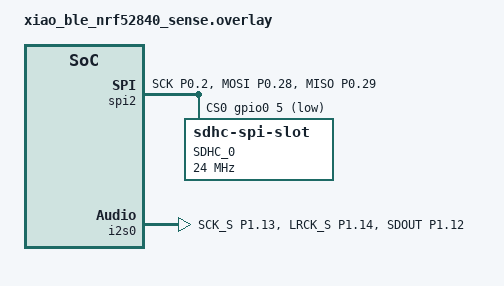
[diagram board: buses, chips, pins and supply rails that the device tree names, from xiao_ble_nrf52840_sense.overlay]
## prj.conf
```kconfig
#
# Copyright (c) 2019 Nordic Semiconductor ASA
#
# SPDX-License-Identifier: LicenseRef-Nordic-5-Clause
#
CONFIG_NCS_SAMPLES_DEFAULTS=y
CONFIG_DK_LIBRARY=y
CONFIG_CLOCK_CONTROL=y

#ESB radio libs
CONFIG_ESB=y
CONFIG_ESB_MAX_PAYLOAD_LENGTH=193

#PWM and I2S libs
CONFIG_I2S=y
CONFIG_PWM=y
CONFIG_GPIO=y

#Serial comunication
CONFIG_USB_DEVICE_STACK=y
CONFIG_USB_CDC_ACM=y
CONFIG_SERIAL=y
CONFIG_UART_CONSOLE=y

#IMU libs
CONFIG_STDOUT_CONSOLE=y
CONFIG_I2C=y
CONFIG_SPI=y
CONFIG_SENSOR=y
CONFIG_LSM6DSL_TRIGGER_OWN_THREAD=y
CONFIG_CBPRINTF_FP_SUPPORT=y

# Enable Edge Impulse dependencies
CONFIG_CPP=y
CONFIG_STD_CPP11=y
CONFIG_FP16=n

# Enable Edge Impulse
CONFIG_EDGE_IMPULSE=y
CONFIG_EDGE_IMPULSE_URI="xiaog2new"
CONFIG_EI_WRAPPER=y

CONFIG_RAM_POWER_DOWN_LIBRARY=y

#randomness
CONFIG_ENTROPY_GENERATOR=y

#sdhc config
CONFIG_FILE_SYSTEM=y
CONFIG_FAT_FILESYSTEM_ELM=y
CONFIG_DISK_ACCESS=y
CONFIG_SPI=y

#loging
CONFIG_LOG=y
```

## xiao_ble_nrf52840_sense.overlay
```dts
// To get started, press Ctrl+Space to bring up the completion menu and view the available nodes.

// You can also use the buttons in the sidebar to perform actions on nodes.
// Actions currently available include:

// * Enabling / disabling the node
// * Adding the bus to a bus
// * Removing the node
// * Connecting ADC channels

// For more help, browse the DeviceTree documentation at https://docs.zephyrproject.org/latest/guides/dts/index.html
// You can also visit the nRF DeviceTree extension documentation at https://docs.nordicsemi.com/bundle/nrf-connect-vscode/page/guides/ncs_configure_app.html#devicetree-support-in-the-extension

&pinctrl {
    custom_spi: custom_spi {
            group1 {
                    psels = <NRF_PSEL(SPIM_SCK, 0, 2)>,
                            <NRF_PSEL(SPIM_MOSI, 0, 28)>,
                            <NRF_PSEL(SPIM_MISO, 0, 29)>;
            };
    };
};

&spi2 {
    status = "okay";
    pinctrl-0 = <&custom_spi>;
    pinctrl-1 = <&custom_spi>;
    pinctrl-names = "default", "sleep";
    cs-gpios = <&gpio0 5 GPIO_ACTIVE_LOW>;

    sdhc0: sdhc@0 {
        compatible = "zephyr,sdhc-spi-slot";
        reg = <0>;
        status = "okay";
        label = "SDHC_0";
        mmc {
                compatible = "zephyr,sdmmc-disk";
                status = "okay";
                disk-name = "SD";  // ← sem přidej tento řádek
        };
        spi-max-frequency = <24000000>;
        //spi-max-frequency = <24000000>; //was working changing to 12 Mhz to be more stable
    };
};

/ {
    aliases {
        i2stx = &i2s0;
    };
};

&i2s0 {
    compatible = "nordic,nrf-i2s";
    #address-cells = <1>;
    #size-cells = <0>;
    reg = <0x40025000 0x1000>;

    pinctrl-0 = <&i2s0_default>;
    pinctrl-names = "default";

    status = "okay";
};

&pinctrl {
    i2s0_default: i2s0_default {
        group1 {
            psels = <NRF_PSEL(I2S_SCK_S, 1, 13)>,    /* D8 */
                    <NRF_PSEL(I2S_LRCK_S, 1, 14)>,   /* D9 */
                    <NRF_PSEL(I2S_SDOUT, 1, 12)>;    /* D7 */
        };
    };
};

&pwm0_default {
    group1 {
        psels = <NRF_PSEL(PWM_OUT0, 0, 4)>, <NRF_PSEL(PWM_OUT1, 0, 3)>;
        /delete-property/ nordic,invert;
    };
};
/delete-node/ &{/pin-controller/pwm0_sleep/group1/};

/*
&usb_cdc_acm_uart {
    compatible = "zephyr,cdc-acm-uart";
    status = "okay";
};
*/
```

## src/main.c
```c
/*
 * Copyright (c) 2018 Nordic Semiconductor ASA
 *
 * SPDX-License-Identifier: LicenseRef-Nordic-5-Clause
 */
#include <zephyr/device.h>
#include <zephyr/devicetree.h>
#include <zephyr/drivers/clock_control.h>
#include <zephyr/drivers/clock_control/nrf_clock_control.h>
#include <zephyr/drivers/gpio.h>
#include <zephyr/irq.h>
#include <zephyr/logging/log.h>
#include <nrf.h>
#include <esb.h>
#include <zephyr/kernel.h>
#include <zephyr/types.h>
#include <dk_buttons_and_leds.h>
#include <zephyr/random/random.h>
#include <zephyr/sys/reboot.h>

/*Modules used for I2S and PWM*/
#include <stdio.h>
#include <zephyr/drivers/i2s.h>
#include <zephyr/sys/iterable_sections.h>
#include <zephyr/sys/printk.h>
#include <zephyr/drivers/pwm.h>
#include "pwmeffects.h"

#define AUDIO_CHUNK_SIZE 1024 //working fine 192
#define AUDIO_SD_CHUNK AUDIO_CHUNK_SIZE //working fine 3072
uint8_t audio_buffer[AUDIO_SD_CHUNK];
/*end of moduls for SD card support*/

#define PRIORITY_PWM 4
#define LMRPWM_THREAD_STACK_SIZE 1024

#define AUDIOSTREAM_MAX_LENGHT (10 * 1000)

/*Modules used for Edge inpuls*/
#include <ei_wrapper.h>
#define HISTORY_LEN 7
#define NUM_CLASSES 9
#define MIN_DETECTION_COUNT 6
#define STRAIGHT_IDX 5
#define DEBUG_RESULT_CB //coment this to use the old function of result_ready

uint8_t hystor_index;
float label_history[HISTORY_LEN][NUM_CLASSES];
float labels_value[NUM_CLASSES];
uint8_t idlefollowup = 0;

//-----------------------------------//
bool audioEventStart = false;
bool audioStreamDone = false;
bool audioStreamPlay = false;	//bool used to control audio stream logic

/*Modules used for LSM6DSL*/
#include <zephyr/sys/util.h>
#define IMU_THREAD_STACK_SIZE 10120
#define IMU_THREAD_PRIORITY 5

K_THREAD_STACK_DEFINE(imu_stack_area, IMU_THREAD_STACK_SIZE);
static struct k_thread imu_thread_data;

static void lsm6dsl_trigger_handler() {
	while(1) {
		int err;
		float sample_buf[3] = {0.0 , 0.0 , 8.9};

		printk("sensor values %f %f %f\n", sample_buf[0], sample_buf[1], sample_buf[2]);
		err = ei_wrapper_add_data(sample_buf, 3); //uset to be controled by audio stream bool trying to chnage taht
		k_sleep(K_MSEC(20));
	}
 }

/*End of modules used for LSM6DSL*/

#define STACK_SIZE 2048
#define PRIORITY 2

#define MSGQ_LENGTH 1

struct gest_msg {
	uint8_t cmd;
	uint8_t gesture_id;
	uint8_t pipeprefix;
    uint8_t rsv;
};

enum GestureID {
	G_IDLE = 0,
    G_CIRCLE1 = 1,
    G_DROP = 2,
    G_NOISE = 3,
    G_SQUARE = 4,
    G_STRAIGHT = 5,
};

/*Packet ID */
#define PKT_GEST 0xB1
#define PKT_PING 0xB2
#define PKT_STAUDIO 0xAB
#define PKT_AUDIO 0xAD
#define PKT_ENDAUDIO 0xAE

K_MSGQ_DEFINE(msg_queue, sizeof(struct gest_msg), MSGQ_LENGTH, 4);

static volatile bool esb_tx_done = true;   // bool used for controling TX logic of gest


#ifdef CONFIG_NOCACHE_MEMORY
	#define MEM_SLAB_CACHE_ATTR __nocache
#else
	#define MEM_SLAB_CACHE_ATTR
#endif /* CONFIG_NOCACHE_MEMORY */

#define BLOCK_SIZE AUDIO_CHUNK_SIZE
#define SLAB_COUNT 4

static char MEM_SLAB_CACHE_ATTR __aligned(WB_UP(32)) 
	 _k_mem_slab_buf_tx_0_mem_slab[(SLAB_COUNT) * WB_UP(BLOCK_SIZE)];

static STRUCT_SECTION_ITERABLE(k_mem_slab, tx_0_mem_slab) =
	 Z_MEM_SLAB_INITIALIZER(tx_0_mem_slab, _k_mem_slab_buf_tx_0_mem_slab,
							 WB_UP(BLOCK_SIZE), SLAB_COUNT);

void check_bitrate_monitoring(size_t new_packet_length_bits);
/*bitrate tracking*/

#define PWM0_NODE DT_NODELABEL(pwm0)

K_THREAD_STACK_DEFINE(lmrPwm_stack_area, LMRPWM_THREAD_STACK_SIZE);
static struct k_thread lmrPwm_thread_data;

LOG_MODULE_REGISTER(esb_prx, CONFIG_ESB_PRX_APP_LOG_LEVEL);

#define PING_TIMEOUT_MS (300 * 1000) // 1 min

const int8_t DEVICE_PREFIX = 0xA2;

int clocks_start(void);

static void imu_trigger(void *arg1, void *arg2, void *arg3);

static void result_ready_cb(int err);

K_THREAD_STACK_DEFINE(audio_stack_area, STACK_SIZE);

int main(void)
{
	int err;
	
	err = clocks_start();
	if (err) {
		return 0;
	}

	err = dk_leds_init();
	if (err) {
		LOG_ERR("LEDs initialization failed, err %d", err);
		return 0;
	}

	LOG_INF("Initialization complete");
	LOG_INF("Setting up for packet receiption");

	k_thread_create(&lmrPwm_thread_data, lmrPwm_stack_area,
	K_THREAD_STACK_SIZEOF(lmrPwm_stack_area),
	lsm6dsl_trigger_handler,
	NULL, NULL, NULL,
	3, 0, K_NO_WAIT);

	k_thread_create(&imu_thread_data, imu_stack_area,
		K_THREAD_STACK_SIZEOF(imu_stack_area),
		imu_trigger,
		NULL, NULL, NULL,
		IMU_THREAD_PRIORITY, 0, K_NO_WAIT);

	/* return to idle thread */
	return 0;
}

int clocks_start(void) {

	int err;
	int res;
	struct onoff_manager *clk_mgr;
	struct onoff_client clk_cli;

	clk_mgr = z_nrf_clock_control_get_onoff(CLOCK_CONTROL_NRF_SUBSYS_HF);
	if (!clk_mgr) {
		LOG_ERR("Unable to get the Clock manager");
		return -ENXIO;
	}

	sys_notify_init_spinwait(&clk_cli.notify);

	err = onoff_request(clk_mgr, &clk_cli);
	if (err < 0) {
		LOG_ERR("Clock request failed: %d", err);
		return err;
	}

	do {
		err = sys_notify_fetch_result(&clk_cli.notify, &res);
		if (!err && res) {
			LOG_ERR("Clock could not be started: %d", res);
			return res;
		}
	} while (err);

	LOG_DBG("HF clock started");
	return 0;
}

static void result_ready_cb(int err) {
    if (err) {
        printk("Result error: %d\n", err);
        return;
    }

    /* 1. Vynuluj aktuální řádek a odečti staré hodnoty */
    for (int c = 0; c < NUM_CLASSES; c++) {
        labels_value[c] -= label_history[hystor_index][c];
        label_history[hystor_index][c] = 0.0f;
    }

    /* 2. Přečti klasifikační výsledky */
    const char *label;
    float prob;
    size_t idx;

    while (!ei_wrapper_get_next_classification_result(&label, &prob, &idx)) {
        if (idx < NUM_CLASSES) {
            label_history[hystor_index][idx] = prob;
            labels_value[idx] += prob;
        }
    }

    /* 4. Posuň index v historii */
    hystor_index = (hystor_index + 1) % HISTORY_LEN;

    /* 5. Najdi třídu s nejvyšší pravděpodobností */
    int max_i = 0;
    float max_v = labels_value[0];
    for (int c = 1; c < NUM_CLASSES; c++) {
        if (labels_value[c] > max_v) {
            max_v = labels_value[c];
            max_i = c;
        }
    }

    /* 6. Spočítej "hlasy" (kolikrát se daná třída opakovala) */
    int votes = 0;
    for (int k = 0; k < HISTORY_LEN; k++) {
        if (label_history[k][max_i] > 0.55f) {
            votes++;
        }
    }

    //printk("Label '%s' (%d) votes: %d\n",
    //     ei_wrapper_get_classifier_label(max_i), max_i, votes);

    if (max_i == 0) {
        ++idlefollowup;
    } else {
        idlefollowup = 0;
    }

    /* 7. Detekce gesta */
    if (votes >= MIN_DETECTION_COUNT &&
        max_i != STRAIGHT_IDX && max_i != 3 &&
        ((max_i != 0) || (idlefollowup == 230))) {

        struct gest_msg g = {
            .cmd        = PKT_GEST,
            .gesture_id = max_i,
            .pipeprefix = DEVICE_PREFIX
        };

        if (!audioEventStart) {
            printk("Gesture detected: %s\n",
                   ei_wrapper_get_classifier_label(max_i));
            k_msgq_put(&msg_queue, &g, K_NO_WAIT);
        }

        memset(label_history, 0, sizeof(label_history));
        memset(labels_value, 0, sizeof(labels_value));
        hystor_index = 0;
        idlefollowup = 0;
    }

    /* 8. Spusť další inference */
    ei_wrapper_start_prediction(0, 3);
}

static void imu_trigger(void *arg1, void *arg2, void *arg3) {

	int err;

	err = ei_wrapper_init(result_ready_cb);
	if (err) {
		LOG_ERR("Edge Impulse wrapper failed to initialize (err: %d)\n",err);
		//return 0;
	}

	err = ei_wrapper_start_prediction(0, 0);
	LOG_ERR("valueof err:%d", err);

	if (err) {
		LOG_ERR("Cannot start prediction (err: %d)\n", err);
	} else {
		LOG_INF("Prediction started...\n");
	}	
	while (1) {
        k_sleep(K_FOREVER);   /* uspi vlákno – jen aby se neukončilo */
    }
}
```

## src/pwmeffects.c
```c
/*Modules used for I2S and PWM*/
#include <stdio.h>
#include <zephyr/kernel.h>
#include <zephyr/drivers/i2s.h>
#include <zephyr/sys/iterable_sections.h>
#include <zephyr/sys/printk.h>
#include <zephyr/drivers/pwm.h>

#include "pwmeffects.h"

#define PWM_PERIOD_USEC 20000  // 20 ms perioda (50 Hz)

void effect_alternate(const struct device *pwm_dev) {
	int64_t start = k_uptime_get();
	while ((k_uptime_get() - start < 3000)) {
		pwm_set(pwm_dev, 0, PWM_PERIOD_USEC, PWM_PERIOD_USEC / 2, 0); // Motor 0 ON
		pwm_set(pwm_dev, 1, PWM_PERIOD_USEC, 0, 0);                    // Motor 1 OFF
		k_sleep(K_MSEC(300));

		pwm_set(pwm_dev, 0, PWM_PERIOD_USEC, 0, 0);                    // Motor 0 OFF
		pwm_set(pwm_dev, 1, PWM_PERIOD_USEC, PWM_PERIOD_USEC / 2, 0); // Motor 1 ON
		k_sleep(K_MSEC(300));
	}
	pwm_set(pwm_dev, 0, PWM_PERIOD_USEC, 0, 0);
	pwm_set(pwm_dev, 1, PWM_PERIOD_USEC, 0, 0);
}

void effect_pulse_both(const struct device *pwm_dev) {
	int64_t start = k_uptime_get();
	while ((k_uptime_get() - start < 3000)) {
		pwm_set(pwm_dev, 0, PWM_PERIOD_USEC, PWM_PERIOD_USEC / 2, 0);
		pwm_set(pwm_dev, 1, PWM_PERIOD_USEC, PWM_PERIOD_USEC / 2, 0);
		k_sleep(K_MSEC(150));

		pwm_set(pwm_dev, 0, PWM_PERIOD_USEC, 0, 0);
		pwm_set(pwm_dev, 1, PWM_PERIOD_USEC, 0, 0);
		k_sleep(K_MSEC(100));
	}
	pwm_set(pwm_dev, 0, PWM_PERIOD_USEC, 0, 0);
	pwm_set(pwm_dev, 1, PWM_PERIOD_USEC, 0, 0);
}

void effect_fade(const struct device *pwm_dev) {
	int64_t start = k_uptime_get();
	uint32_t duty;
	while ((k_uptime_get() - start < 3000)) {
		// Fade in
		for (duty = 0; duty <= PWM_PERIOD_USEC / 2; duty += 200) {
			pwm_set(pwm_dev, 0, PWM_PERIOD_USEC, duty, 0);
			pwm_set(pwm_dev, 1, PWM_PERIOD_USEC, duty, 0);
			k_sleep(K_MSEC(50));
		}
		// Fade out
		for (duty = PWM_PERIOD_USEC / 2; duty >= 200; duty -= 200) {
			pwm_set(pwm_dev, 0, PWM_PERIOD_USEC, duty, 0);
			pwm_set(pwm_dev, 1, PWM_PERIOD_USEC, duty, 0);
			k_sleep(K_MSEC(50));
		}
	}
	pwm_set(pwm_dev, 0, PWM_PERIOD_USEC, 0, 0);
	pwm_set(pwm_dev, 1, PWM_PERIOD_USEC, 0, 0);
}

void effect_fade_left(const struct device *pwm_dev)
{
    int64_t start = k_uptime_get();
    uint32_t duty;

    while ((k_uptime_get() - start < 3000)) {

        /* Fade-in */
        for (duty = 0; duty <= PWM_PERIOD_USEC / 2; duty += 200) {
            pwm_set(pwm_dev, 0,  PWM_PERIOD_USEC, duty, 0);
            pwm_set(pwm_dev, 1, PWM_PERIOD_USEC, 0,    0);
            k_sleep(K_MSEC(50));
        }

        /* Fade-out */
        for (duty = PWM_PERIOD_USEC / 2; duty >= 200; duty -= 200) {
            pwm_set(pwm_dev, 0,  PWM_PERIOD_USEC, duty, 0);
            pwm_set(pwm_dev, 1, PWM_PERIOD_USEC, 0,    0);
            k_sleep(K_MSEC(50));
        }
    }

    /* stop – obě strany ticho */
    pwm_set(pwm_dev, 0,  PWM_PERIOD_USEC, 0, 0);
    pwm_set(pwm_dev, 1, PWM_PERIOD_USEC, 0, 0);
}

void effect_fade_right(const struct device *pwm_dev)
{
    int64_t start = k_uptime_get();
    uint32_t duty;

    while ((k_uptime_get() - start < 3000)) {

        /* Fade-in */
        for (duty = 0; duty <= PWM_PERIOD_USEC / 2; duty += 200) {
            pwm_set(pwm_dev, 1,  PWM_PERIOD_USEC, duty, 0);
            pwm_set(pwm_dev, 0, PWM_PERIOD_USEC, 0,    0);
            k_sleep(K_MSEC(50));
        }

        /* Fade-out */
        for (duty = PWM_PERIOD_USEC / 2; duty >= 200; duty -= 200) {
            pwm_set(pwm_dev, 1,  PWM_PERIOD_USEC, duty, 0);
            pwm_set(pwm_dev, 0, PWM_PERIOD_USEC, 0,    0);
            k_sleep(K_MSEC(50));
        }
    }

    /* stop – obě strany ticho */
    pwm_set(pwm_dev, 1,  PWM_PERIOD_USEC, 0, 0);
    pwm_set(pwm_dev, 0, PWM_PERIOD_USEC, 0, 0);
}
```
